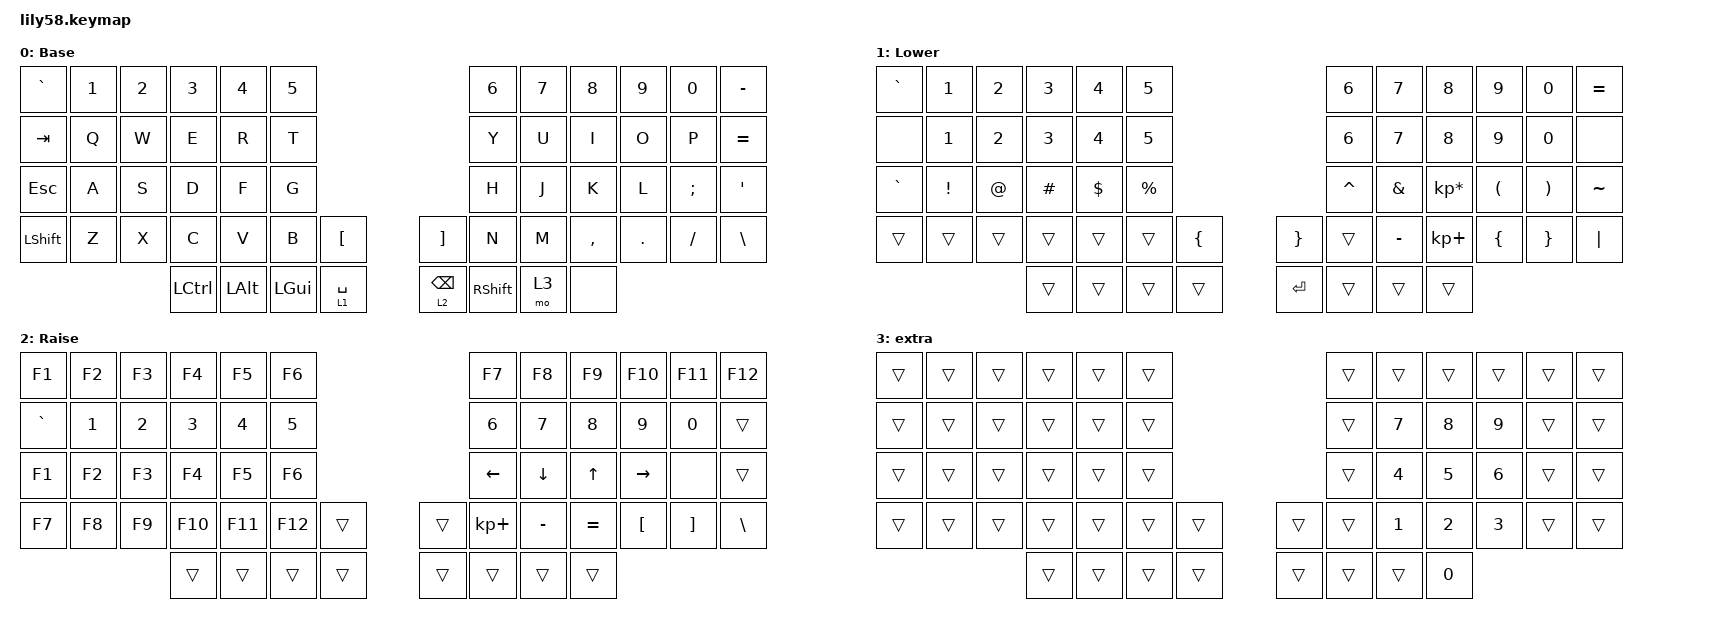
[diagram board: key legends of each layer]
/*
 * Copyright (c) 2020 The ZMK Contributors
 *
 * SPDX-License-Identifier: MIT
 */

#include <behaviors.dtsi>
#include <dt-bindings/zmk/keys.h>

/ {
    behaviors {
        lt_hold_pref: lt_hold_pref {
            compatible = "zmk,behavior-hold-tap";
            label = "LT_HOLD_PREF";
            bindings = <&mo>, <&kp>;

            #binding-cells = <2>;
            tapping-term-ms = <200>;
            flavor = "hold-preferred";
        };
    };

    keymap {
        compatible = "zmk,keymap";

        home_layer {
            // ------------------------------------------------------------------------------------------------------------
            // |  ESC  |  1  |  2  |  3   |  4   |  5   |                   |  6   |  7    |  8    |  9   |   0   |   `   |
            // |  TAB  |  Q  |  W  |  E   |  R   |  T   |                   |  Y   |  U    |  I    |  O   |   P   |   -   |
            // |  CTRL |  A  |  S  |  D   |  F   |  G   |                   |  H   |  J    |  K    |  L   |   ;   |   '   |
            // | SHIFT |  Z  |  X  |  C   |  V   |  B   |   "["  |  |  "]"  |  N   |  M    |  ,    |  .   |   /   | SHIFT |
            //                     | ALT  | GUI  | LOWER|  SPACE |  | ENTER | RAISE| BSPC  | GUI   |

            display-name = "Base";
            bindings = <
&kp GRAVE  &kp N1  &kp N2  &kp N3            &kp N4    &kp N5                                              &kp N6      &kp N7  &kp N8     &kp N9   &kp N0    &kp MINUS
&kp TAB    &kp Q   &kp W   &kp E             &kp R     &kp T                                               &kp Y       &kp U   &kp I      &kp O    &kp P     &kp EQUAL
&kp ESC    &kp A   &kp S   &kp D             &kp F     &kp G                                               &kp H       &kp J   &kp K      &kp L    &kp SEMI  &kp SQT
&kp LSHFT  &kp Z   &kp X   &kp C             &kp V     &kp B     &kp LBKT                 &kp RBKT         &kp N       &kp M   &kp COMMA  &kp DOT  &kp FSLH  &kp BACKSLASH
                           &kp LEFT_CONTROL  &kp LALT  &kp LGUI  &lt_hold_pref 1 SPACE    &lt 2 BACKSPACE  &kp RSHIFT  &mo 3   &none
            >;
        };

        nums_syms {
            // ------------------------------------------------------------------------------------------------------------
            // | BTCLR | BT1 | BT2 |  BT3 |  BT4 |  BT5 |                   |      |       |       |      |       |       |
            // |  F1   |  F2 |  F3 |  F4  |  F5  |  F6  |                   |  F7  |  F8   |  F9   |  F10 |  F11  |  F12  |
            // |   `   |  !  |  @  |  #   |  $   |  %   |                   |  ^   |  &    |  *    |  (   |   )   |   ~   |
            // |       |     |     |      |      |      |        |  |       |      |  _    |  +    |  {   |   }   |  "|"  |
            //                     |      |      |      |        |  |       |      |       |       |

            display-name = "Lower";
            bindings = <
&kp GRAVE  &kp NUMBER_1  &kp NUMBER_2  &kp NUMBER_3  &kp NUMBER_4  &kp N5                                        &kp NUMBER_6  &kp N7     &kp N8           &kp N9    &kp N0    &kp EQUAL
&none      &kp N1        &kp N2        &kp N3        &kp N4        &kp N5                                        &kp N6        &kp N7     &kp N8           &kp N9    &kp N0    &none
&kp GRAVE  &kp EXCL      &kp AT        &kp HASH      &kp DOLLAR    &kp PRCNT                                     &kp CARET     &kp AMPS   &kp KP_MULTIPLY  &kp LPAR  &kp RPAR  &kp TILDE
&trans     &trans        &trans        &trans        &trans        &trans     &kp LEFT_BRACE    &kp RIGHT_BRACE  &trans        &kp MINUS  &kp KP_PLUS      &kp LBRC  &kp RBRC  &kp PIPE
                                       &trans        &trans        &trans     &trans            &kp ENTER        &trans        &trans     &trans
            >;
        };

        functional {
            // ------------------------------------------------------------------------------------------------------------
            // |       |     |     |      |      |      |                   |      |       |       |      |       |       |
            // |   `   |  1  |  2  |  3   |  4   |  5   |                   |  6   |   7   |   8   |  9   |   0   |       |
            // |   F1  |  F2 |  F3 |  F4  |  F5  |  F6  |                   |      |   <-  |   v   |  ^   |  ->   |       |
            // |   F7  |  F8 |  F9 |  F10 |  F11 |  F12 |        |  |       |  +   |   -   |   =   |  [   |   ]   |   \   |
            //                     |      |      |      |        |  |       |      |       |       |

            display-name = "Raise";
            bindings = <
&kp F1     &kp F2  &kp F3  &kp F4   &kp F5   &kp F6                     &kp F7       &kp F8     &kp F9     &kp F10    &kp F11   &kp F12
&kp GRAVE  &kp N1  &kp N2  &kp N3   &kp N4   &kp N5                     &kp N6       &kp N7     &kp N8     &kp N9     &kp N0    &trans
&kp F1     &kp F2  &kp F3  &kp F4   &kp F5   &kp F6                     &kp LEFT     &kp DOWN   &kp UP     &kp RIGHT  &none     &trans
&kp F7     &kp F8  &kp F9  &kp F10  &kp F11  &kp F12  &trans    &trans  &kp KP_PLUS  &kp MINUS  &kp EQUAL  &kp LBKT   &kp RBKT  &kp BSLH
                           &trans   &trans   &trans   &trans    &trans  &trans       &trans     &trans
            >;
        };

        extra {
            bindings = <
&trans  &trans  &trans  &trans  &trans  &trans                    &trans  &trans  &trans  &trans  &trans  &trans
&trans  &trans  &trans  &trans  &trans  &trans                    &trans  &kp N7  &kp N8  &kp N9  &trans  &trans
&trans  &trans  &trans  &trans  &trans  &trans                    &trans  &kp N4  &kp N5  &kp N6  &trans  &trans
&trans  &trans  &trans  &trans  &trans  &trans  &trans    &trans  &trans  &kp N1  &kp N2  &kp N3  &trans  &trans
                        &trans  &trans  &trans  &trans    &trans  &trans  &trans  &kp N0
            >;
        };
    };
};
